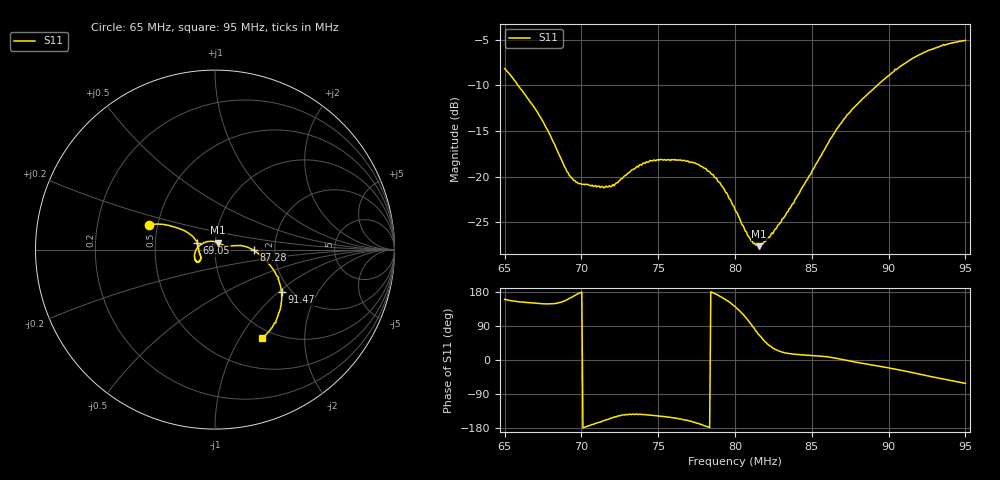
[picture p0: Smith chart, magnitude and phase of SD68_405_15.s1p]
! NanoVNA-App
! Date: 2025-08-02 16:44:24
! Start: 65MHz Stop: 95MHz Points: 401
! S-Parameter data: F S11
# Hz S RI R 50
!  Frequency  S11_Real  S11_Imag
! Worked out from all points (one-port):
!   401 points, 65 MHz to 95 MHz, reference 50 ohm
!   lowest |S11| = -27.6 dB at 81.58 MHz (marker M1), VSWR 1.09, Z = 51.6 + j3.92 ohm
!   |S11| at or under -10 dB: 65.87 MHz to 89.26 MHz (23.39 MHz wide, 30.2 % of centre)
!   S11 on the Smith chart (normalised r, x): 65 MHz: 0.45, +0.14; 69.05 MHz: 0.82, +0.06; 87.28 MHz: 1.55, -0.01; 91.47 MHz: 1.78, -1.05; 95 MHz: 0.88, -1.25
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6.5e7  -0.3672 0.1343
6.5825e7  -0.2877 0.1404
6.7175e7  -0.1917 0.1136
6.875e7  -0.1087 0.0536
6.905e7  -0.0997 0.0382
6.95e7  -0.0933 0.0186
6.995e7  -0.0913 0.00348
7.16e7  -0.0821 -0.0335
7.25e7  -0.0798 -0.0519
7.415e7  -0.096 -0.0687
7.625e7  -0.1107 -0.0543
7.745e7  -0.1143 -0.0288
7.8425e7  -0.1042 1.17e-05
7.9175e7  -0.0849 0.0237
8e7  -0.0512 0.0414
8.0975e7  -0.00648 0.0453
8.1575e7  0.0169 0.0379
8.24e7  0.0408 0.0272
8.375e7  0.0682 0.0191
8.5475e7  0.123 0.0229
8.6525e7  0.1762 0.0154
8.7275e7  0.2171 -0.00397
8.75e7  0.2258 -0.0126
8.9375e7  0.3095 -0.0905
9.125e7  0.3672 -0.2188
9.1475e7  0.3707 -0.2375
9.3425e7  0.3399 -0.3945
9.5e7  0.2638 -0.4916
